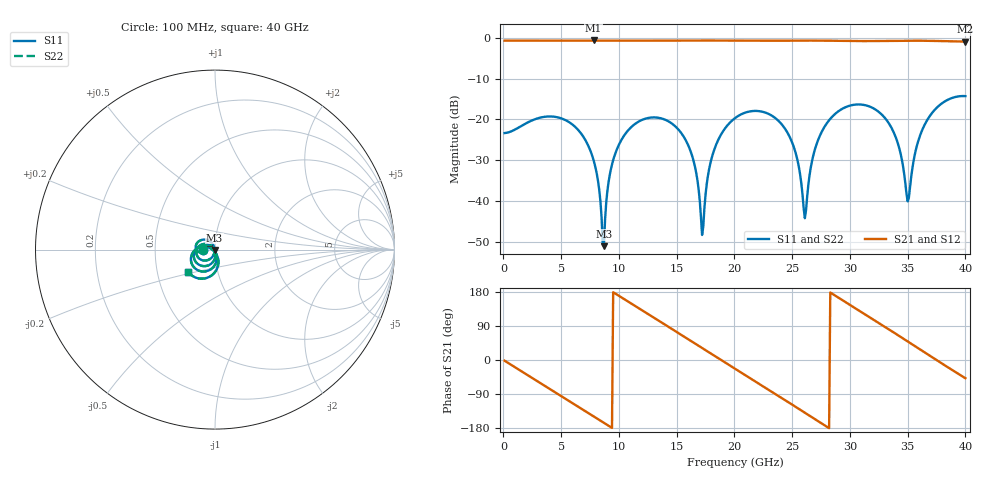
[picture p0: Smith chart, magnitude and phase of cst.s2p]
! thru_s8x2_L3: 2×thru, L3, 8 mm
! stackup: 8-layer 1.6 mm FR-4 without the L2 plane
! ports: 1, 2
! CST Studio Suite 2025.5 Release from 2025-05-30, time domain (FIT, hexahedral, PBA), 85120 mesh cells, 20 s
! mesh: {'lpw': 20, 'lpb': 20, 'minstep': 0.0, 'ratio': 20}; ports: port 1 (face); port 2 (face)
! interpolated from CST's 1001 samples to the case grid
# Hz S RI R 50
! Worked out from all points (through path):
!   400 points, 100 MHz to 40 GHz, reference 50 ohm
!   highest |S21| = -0.58 dB at 7.8 GHz (marker M1); lowest = -0.9 dB at 40 GHz (marker M2)
!   group delay of S21, straight-line fit = 53.3 ps
!   lowest |S11| = -51.1 dB at 8.7 GHz (marker M3), VSWR 1.01, Z = 49.8 - j0.187 ohm
!   |S11| at or under -10 dB: start of sweep to end of sweep
!   |S22| runs from -51.1 to -14.2 dB; largest |S21 - S12| = 9.5e-07
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1e8  -0.0681 -0.00133  0.9308 -0.0309  0.9308 -0.0309  -0.0681 -0.00133
3.7e9  -0.1077 0.013  0.3136 -0.8779  0.3136 -0.8779  -0.1077 0.013
6.8e9  -0.0392 0.0518  -0.5945 -0.7222  -0.5945 -0.7222  -0.0392 0.0518
7.8e9  -0.0119 0.0294  -0.7988 -0.4874  -0.7988 -0.4874  -0.0119 0.0294
8.7e9  -0.00204 -0.00188  -0.907 -0.2286  -0.907 -0.2286  -0.00204 -0.00188
9.1e9  -0.00338 -0.0166  -0.929 -0.1056  -0.929 -0.1056  -0.00339 -0.0166
9.9e9  -0.0165 -0.0426  -0.923 0.1432  -0.923 0.1432  -0.0165 -0.0426
1.34e10  -0.1041 -0.014  -0.2331 0.9012  -0.2331 0.9012  -0.1041 -0.014
1.62e10  -0.0312 0.0264  0.5884 0.7254  0.5884 0.7254  -0.0312 0.0264
1.68e10  -0.0127 0.0125  0.7219 0.5932  0.7219 0.5932  -0.0127 0.0125
1.72e10  -0.00375 -0.000643  0.7949 0.491  0.7949 0.491  -0.00375 -0.000641
1.81e10  0.0024 -0.0363  0.9044 0.2315  0.9044 0.2315  0.0024 -0.0363
2.01e10  -0.0516 -0.0916  0.8484 -0.3788  0.8484 -0.3788  -0.0516 -0.0916
2.44e10  -0.0732 0.0215  -0.2595 -0.8928  -0.2595 -0.8928  -0.0732 0.0215
2.55e10  -0.0259 0.0147  -0.567 -0.7398  -0.567 -0.7398  -0.0259 0.0147
2.61e10  -0.00503 -0.00348  -0.7052 -0.6104  -0.7052 -0.6104  -0.00504 -0.00348
2.67e10  0.0074 -0.029  -0.8141 -0.4551  -0.8141 -0.4551  0.00739 -0.029
2.95e10  -0.0665 -0.1221  -0.8369 0.3909  -0.8369 0.3909  -0.0665 -0.1221
3.34e10  -0.0876 0.0118  0.1554 0.9113  0.1554 0.9113  -0.0876 0.0119
3.5e10  -0.00775 -0.00609  0.609 0.7026  0.609 0.7026  -0.00774 -0.00608
3.66e10  0.0162 -0.0919  0.8844 0.2794  0.8844 0.2794  0.0162 -0.0918
4e10  -0.1477 -0.1253  0.6047 -0.675  0.6047 -0.675  -0.1477 -0.1253
